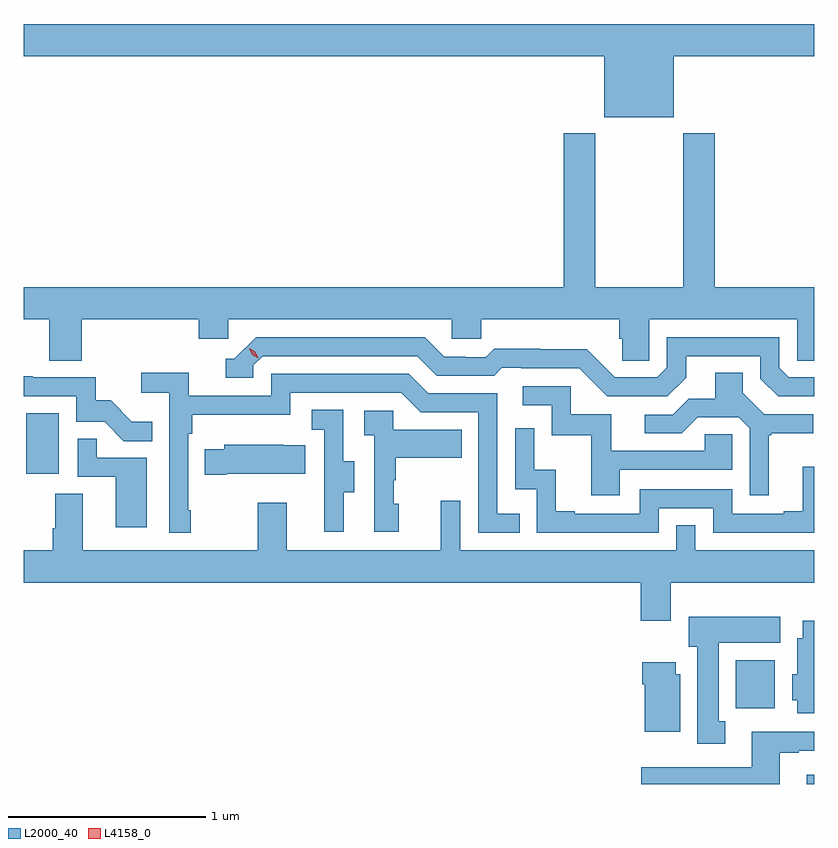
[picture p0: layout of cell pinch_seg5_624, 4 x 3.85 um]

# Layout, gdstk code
import gdstk
lib = gdstk.Library(unit=1e-6, precision=1e-09)
def R(c, l, rs):  # rectangles x0, y0, x1, y1
    for r in rs: c.add(gdstk.rectangle(r[:2], r[2:], *l))
def P(c, l, *ps):  # polygons
    for p in ps: c.add(gdstk.Polygon(p, *l))
L2000_40 = (2000, 40)
L4158_0 = (4158, 0)

pinch_seg5_624 = lib.new_cell('pinch_seg5_624')
R(pinch_seg5_624, L2000_40, [(1027.079,863.732,1027.117,863.779), (1026.722,864.116,1026.919,864.358), (1023.128,865.302,1023.292,865.609)])
P(pinch_seg5_624, L2000_40, [(1026.406,867.416),(1027.117,867.416),(1027.117,867.58),(1023.117,867.58),(1023.117,867.416),(1026.056,867.416),(1026.056,867.107),(1026.406,867.107)],
  [(1023.41,866.084),(1024.001,866.084),(1024.001,865.986),(1024.152,865.986),(1024.152,866.084),(1025.283,866.084),(1025.283,865.986),(1025.433,865.986),(1025.433,866.084),(1026.131,866.084),(1026.131,865.986),(1026.145,865.986),(1026.145,865.876),(1026.282,865.876),(1026.282,866.084),(1027.032,866.084),(1027.032,865.876),(1027.117,865.876),(1027.117,866.248),(1026.614,866.248),(1026.614,867.028),(1026.454,867.028),(1026.454,866.248),(1026.009,866.248),(1026.009,867.028),(1025.849,867.028),(1025.849,866.248),(1023.117,866.248),(1023.117,866.084),(1023.245,866.084),(1023.245,865.876),(1023.41,865.876)],
  [(1026.469,865.789),(1026.469,865.899),(1026.846,865.899),(1026.846,865.785),(1026.936,865.695),(1027.117,865.695),(1027.117,865.791),(1026.99,865.791),(1026.942,865.839),(1026.942,865.995),(1026.372,865.995),(1026.372,865.839),(1026.324,865.791),(1026.108,865.791),(1025.966,865.933),(1025.73,865.933),(1025.73,865.936),(1025.497,865.936),(1025.455,865.893),(1025.352,865.893),(1025.352,865.896),(1025.245,865.896),(1025.146,865.995),(1024.293,865.995),(1024.182,865.884),(1024.139,865.884),(1024.139,865.788),(1024.278,865.788),(1024.278,865.851),(1024.326,865.899),(1025.109,865.899),(1025.208,865.8),(1025.497,865.8),(1025.536,865.839),(1025.635,865.839),(1025.635,865.836),(1025.928,865.836),(1026.069,865.695),(1026.375,865.695)],
  [(1026.889,865.497),(1026.901,865.497),(1026.901,865.508),(1027.114,865.508),(1027.114,865.605),(1026.864,865.605),(1026.757,865.712),(1026.757,865.814),(1026.617,865.814),(1026.617,865.682),(1026.482,865.682),(1026.402,865.602),(1026.261,865.602),(1026.261,865.509),(1026.448,865.509),(1026.529,865.59),(1026.735,865.59),(1026.792,865.533),(1026.792,865.194),(1026.889,865.194)],
  [(1023.961,865.117),(1023.948,865.117),(1023.948,865.505),(1023.968,865.505),(1023.968,865.601),(1024.464,865.601),(1024.464,865.713),(1025.028,865.713),(1025.127,865.614),(1025.418,865.614),(1025.418,865.005),(1025.627,865.005),(1025.627,865.101),(1025.514,865.101),(1025.514,865.71),(1025.164,865.71),(1025.065,865.809),(1024.368,865.809),(1024.368,865.698),(1023.95,865.698),(1023.95,865.814),(1023.711,865.814),(1023.711,865.712),(1023.852,865.712),(1023.852,865.005),(1023.961,865.005)],
  [(1023.767,865.567),(1023.663,865.567),(1023.556,865.674),(1023.48,865.674),(1023.48,865.791),(1023.161,865.791),(1023.161,865.796),(1023.117,865.796),(1023.117,865.695),(1023.381,865.695),(1023.381,865.566),(1023.525,865.566),(1023.623,865.468),(1023.767,865.468)],
  [(1026.133,865.323),(1026.702,865.323),(1026.702,865.503),(1026.565,865.503),(1026.565,865.419),(1026.091,865.419),(1026.091,865.605),(1025.886,865.605),(1025.886,865.746),(1025.643,865.746),(1025.643,865.65),(1025.79,865.65),(1025.79,865.497),(1025.989,865.497),(1025.989,865.194),(1026.133,865.194)],
  [(1024.735,865.21),(1024.789,865.21),(1024.789,865.365),(1024.734,865.365),(1024.734,865.628),(1024.575,865.628),(1024.575,865.525),(1024.638,865.525),(1024.638,865.221),(1024.637,865.221),(1024.637,865.008),(1024.735,865.008)],
  [(1025.014,865.152),(1024.989,865.152),(1024.989,865.271),(1024.999,865.271),(1024.999,865.385),(1025.333,865.385),(1025.333,865.525),(1024.986,865.525),(1024.986,865.623),(1024.839,865.623),(1024.839,865.499),(1024.89,865.499),(1024.89,865.008),(1025.014,865.008)],
  [(1026.33,865.128),(1026.606,865.128),(1026.606,865.005),(1027.117,865.005),(1027.117,865.339),(1027.061,865.339),(1027.061,865.114),(1026.965,865.114),(1026.965,865.101),(1026.702,865.101),(1026.702,865.224),(1026.234,865.224),(1026.234,865.101),(1025.905,865.101),(1025.905,865.114),(1025.81,865.114),(1025.81,865.322),(1025.7,865.322),(1025.7,865.534),(1025.604,865.534),(1025.604,865.224),(1025.712,865.224),(1025.712,865.005),(1026.33,865.005)],
  [(1023.739,865.383),(1023.485,865.383),(1023.485,865.481),(1023.39,865.481),(1023.39,865.287),(1023.581,865.287),(1023.581,865.032),(1023.739,865.032)],
  [(1024.144,865.304),(1024.541,865.304),(1024.541,865.447),(1024.433,865.447),(1024.433,865.45),(1024.131,865.45),(1024.131,865.426),(1024.033,865.426),(1024.033,865.297),(1024.144,865.297)],
  [(1026.391,864.752),(1027.117,864.752),(1027.117,864.916),(1026.516,864.916),(1026.516,865.043),(1026.42,865.043),(1026.42,864.916),(1025.325,864.916),(1025.325,865.165),(1025.228,865.165),(1025.228,864.916),(1024.447,864.916),(1024.447,865.156),(1024.3,865.156),(1024.3,864.916),(1023.415,864.916),(1023.415,865.202),(1023.275,865.202),(1023.275,865.028),(1023.263,865.028),(1023.263,864.916),(1023.117,864.916),(1023.117,864.752),(1026.239,864.752),(1026.239,864.558),(1026.391,864.558)],
  [(1026.667,864.05),(1026.634,864.05),(1026.634,864.446),(1026.946,864.446),(1026.946,864.58),(1026.482,864.58),(1026.482,864.426),(1026.527,864.426),(1026.527,863.937),(1026.667,863.937)],
  [(1027.117,864.559),(1027.061,864.559),(1027.061,864.469),(1027.031,864.469),(1027.031,864.288),(1027.007,864.288),(1027.007,864.156),(1027.031,864.156),(1027.031,864.089),(1027.117,864.089)],
  [(1026.439,864.288),(1026.418,864.288),(1026.418,864.349),(1026.248,864.349),(1026.248,864.236),(1026.26,864.236),(1026.26,863.996),(1026.439,863.996)],
  [(1026.943,863.889),(1027.039,863.889),(1027.039,863.901),(1027.117,863.901),(1027.117,863.997),(1026.803,863.997),(1026.803,863.817),(1026.243,863.817),(1026.243,863.732),(1026.943,863.732)])
P(pinch_seg5_624, L4158_0, [(1024.304,865.887),(1024.273,865.906),(1024.257,865.939),(1024.257,865.939),(1024.257,865.939),(1024.288,865.92),(1024.304,865.887),(1024.304,865.887)])

lib.write_gds('pinch_seg5_624.gds')
